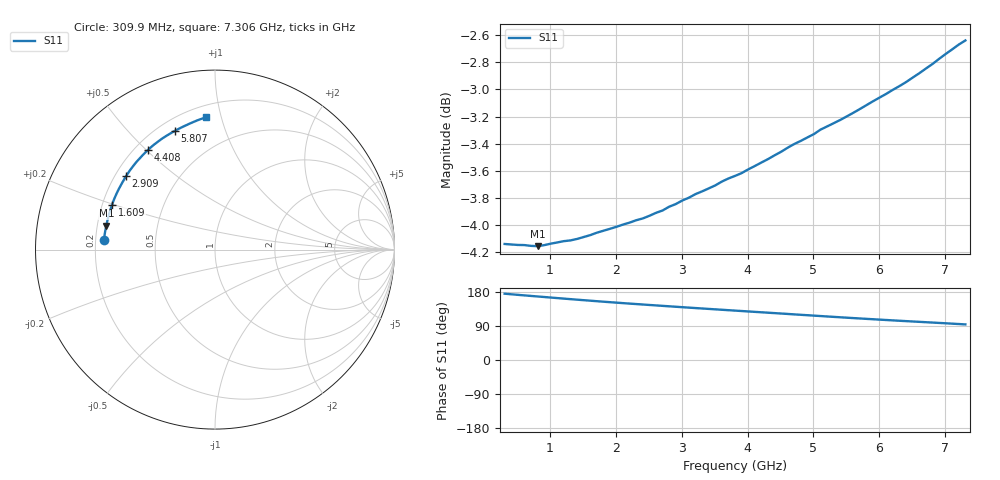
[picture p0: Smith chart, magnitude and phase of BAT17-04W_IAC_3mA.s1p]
! Infineon Technologies  Discrete & RF Semiconductors
! BAT17-04W
! IAC = 3 mA
! One-Port S-Parameters
# Hz  S  MA  R  50
!f  S11
!Hz  Mag  Ang
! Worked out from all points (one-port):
!   71 points, 309.9 MHz to 7.306 GHz, reference 50 ohm
!   lowest |S11| = -4.2 dB at 809.6 MHz (marker M1), VSWR 4.26, Z = 11.9 + j5.1 ohm
!   |S11| at or under -10 dB: nowhere
!   S11 on the Smith chart (normalised r, x): 309.9 MHz: 0.23, +0.04; 1.609 GHz: 0.24, +0.20; 2.909 GHz: 0.24, +0.34; 4.408 GHz: 0.25, +0.51; 5.807 GHz: 0.26, +0.69; 7.306 GHz: 0.28, +0.90
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3.0985e8  0.6209 175.0
4.098e8  0.6206 173.5
6.097e8  0.6203 170.5
8.096e8  0.6197 167.7
1.0095e9  0.621 164.8
1.2094e9  0.6224 162.0
1.6092e9  0.6255 156.5
1.8091e9  0.6279 153.9
2.10895e9  0.6312 150.1
2.50875e9  0.6359 145.2
2.90855e9  0.6423 140.5
3.0085e9  0.6442 139.3
3.2084e9  0.6477 137.1
3.4083e9  0.6509 134.8
3.6082e9  0.6547 132.6
3.8081e9  0.6578 130.4
4.10795e9  0.6634 127.0
4.4078e9  0.6694 123.7
4.70765e9  0.6759 120.4
5.10745e9  0.6842 116.0
5.6072e9  0.6941 110.6
5.8071e9  0.6987 108.5
6.2069e9  0.7078 104.5
6.50675e9  0.7151 101.6
6.8066e9  0.7234 98.8
7.0065e9  0.7296 96.9
7.2064e9  0.7355 94.9
7.30635e9  0.7381 93.9
